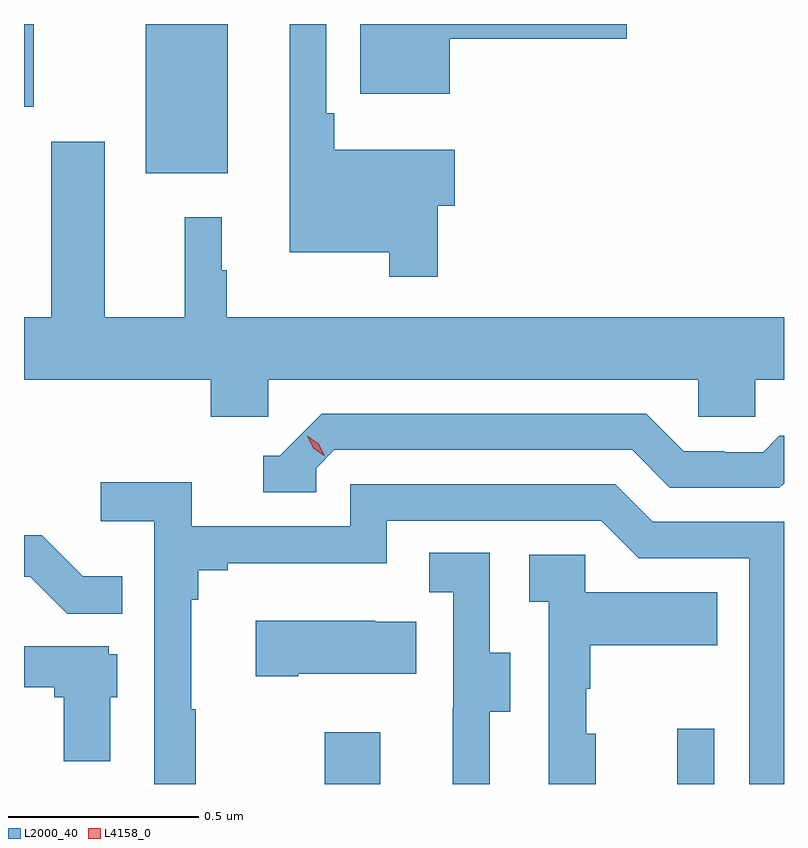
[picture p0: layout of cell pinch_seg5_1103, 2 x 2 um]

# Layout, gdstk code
import gdstk
lib = gdstk.Library(unit=1e-6, precision=1e-09)
def R(c, l, rs):  # rectangles x0, y0, x1, y1
    for r in rs: c.add(gdstk.rectangle(r[:2], r[2:], *l))
def P(c, l, *ps):  # polygons
    for p in ps: c.add(gdstk.Polygon(p, *l))
L2000_40 = (2000, 40)
L4158_0 = (4158, 0)

pinch_seg5_1103 = lib.new_cell('pinch_seg5_1103')
R(pinch_seg5_1103, L2000_40, [(861.796,867.684,861.943,867.82), (862.724,867.684,862.821,867.829), (861.326,869.291,861.541,869.684), (861.005,869.466,861.031,869.684)])
P(pinch_seg5_1103, L2000_40, [(862.126,869.645),(862.591,869.645),(862.591,869.684),(861.89,869.684),(861.89,869.501),(862.126,869.501)],
  [(862.094,869.206),(862.138,869.206),(862.138,869.353),(861.821,869.353),(861.821,869.449),(861.801,869.449),(861.801,869.684),(861.704,869.684),(861.704,869.084),(861.966,869.084),(861.966,869.019),(862.094,869.019)],
  [(861.648,868.748),(862.779,868.748),(862.779,868.65),(862.929,868.65),(862.929,868.748),(863.005,868.748),(863.005,868.912),(861.538,868.912),(861.538,869.036),(861.526,869.036),(861.526,869.176),(861.428,869.176),(861.428,868.912),(861.217,868.912),(861.217,869.374),(861.077,869.374),(861.077,868.912),(861.005,868.912),(861.005,868.748),(861.497,868.748),(861.497,868.65),(861.648,868.65)],
  [(861.774,868.515),(861.822,868.563),(862.605,868.563),(862.704,868.464),(862.993,868.464),(863.005,868.476),(863.005,868.6),(862.993,868.6),(862.951,868.557),(862.848,868.557),(862.848,868.56),(862.741,868.56),(862.642,868.659),(861.789,868.659),(861.678,868.548),(861.635,868.548),(861.635,868.452),(861.774,868.452)],
  [(861.457,867.881),(861.445,867.881),(861.445,868.169),(861.464,868.169),(861.464,868.246),(861.541,868.246),(861.541,868.265),(861.96,868.265),(861.96,868.377),(862.524,868.377),(862.623,868.278),(862.914,868.278),(862.914,867.684),(863.005,867.684),(863.005,868.374),(862.66,868.374),(862.561,868.473),(861.864,868.473),(861.864,868.362),(861.446,868.362),(861.446,868.478),(861.207,868.478),(861.207,868.376),(861.348,868.376),(861.348,867.684),(861.457,867.684)],
  [(861.263,868.231),(861.159,868.231),(861.052,868.338),(861.005,868.338),(861.005,868.23),(861.021,868.23),(861.119,868.132),(861.263,868.132)],
  [(862.231,867.874),(862.285,867.874),(862.285,868.029),(862.23,868.029),(862.23,868.292),(862.071,868.292),(862.071,868.189),(862.134,868.189),(862.134,867.885),(862.133,867.885),(862.133,867.684),(862.231,867.684)],
  [(862.51,867.816),(862.485,867.816),(862.485,867.935),(862.495,867.935),(862.495,868.049),(862.829,868.049),(862.829,868.189),(862.482,868.189),(862.482,868.287),(862.335,868.287),(862.335,868.163),(862.386,868.163),(862.386,867.684),(862.51,867.684)],
  [(861.727,867.974),(862.037,867.974),(862.037,868.111),(861.929,868.111),(861.929,868.114),(861.615,868.114),(861.615,867.967),(861.727,867.967)],
  [(861.232,867.912),(861.25,867.912),(861.25,868.026),(861.228,868.026),(861.228,868.047),(861.005,868.047),(861.005,867.939),(861.085,867.939),(861.085,867.912),(861.11,867.912),(861.11,867.744),(861.232,867.744)])
P(pinch_seg5_1103, L4158_0, [(861.796,868.547),(861.766,868.567),(861.75,868.6),(861.75,868.601),(861.75,868.601),(861.781,868.58),(861.796,868.547),(861.796,868.547)])

lib.write_gds('pinch_seg5_1103.gds')
